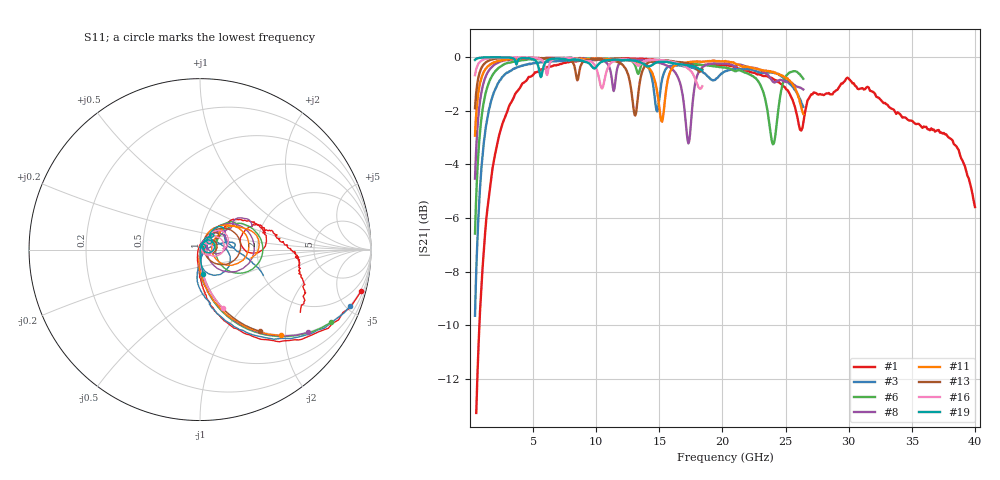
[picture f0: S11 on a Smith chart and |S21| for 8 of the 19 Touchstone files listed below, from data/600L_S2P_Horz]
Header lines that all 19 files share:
!  One Norden Lane
!  Huntington Station,  NY.  11746-2102
!  Tel:  (631) 622-4700  Fax:  (631) 622-4748
!  Application: Coupling, Bypass, Tuning, DC Block
!  Filters, Matching
# GHZ S DB R 50
! Freq  |S11|  S11 Ph  |S21|  S21 Ph  |S12|  S12 Ph  |S22|  S22 Ph
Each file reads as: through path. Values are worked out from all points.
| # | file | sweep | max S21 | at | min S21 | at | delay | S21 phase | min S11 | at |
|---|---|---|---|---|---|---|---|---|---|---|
| 1 | 600L0R7.S2P | 499 MHz to 40 GHz | -0.05 dB | 11.98 GHz | -13.3 dB | 499 MHz | 11 ps | -52 deg at 20.3 GHz | -40.1 dB | 12.48 GHz |
| 2 | 600L1R0.S2P | 400 MHz to 40 GHz | 0.00 dB | 10.3 GHz | -12.7 dB | 400 MHz | 10 ps | -57 deg at 20.2 GHz | -43.6 dB | 11.19 GHz |
| 3 | 600L1R5.S2P | 400 MHz to 26.4 GHz | -0.07 dB | 10.15 GHz | -9.6 dB | 400 MHz | 11.2 ps | -36 deg at 13.4 GHz | -40.4 dB | 10.28 GHz |
| 4 | 600L1R8.S2P | 400 MHz to 26.4 GHz | -0.12 dB | 8.07 GHz | -8.2 dB | 400 MHz | 10.9 ps | -38 deg at 13.4 GHz | -31.0 dB | 8.265 GHz |
| 5 | 600L2R0.S2P | 400 MHz to 26.4 GHz | -0.02 dB | 5.795 GHz | -6.8 dB | 400 MHz | 9.98 ps | -36 deg at 13.4 GHz | -35.5 dB | 7.16 GHz |
| 6 | 600L2R2.S2P | 400 MHz to 26.4 GHz | -0.02 dB | 8.005 GHz | -6.6 dB | 400 MHz | 10.1 ps | -33 deg at 13.4 GHz | -44.6 dB | 8.33 GHz |
| 7 | 600L2R7.S2P | 400 MHz to 26.4 GHz | -0.01 dB | 7.94 GHz | -5.0 dB | 400 MHz | 8.73 ps | -31 deg at 13.4 GHz | -44.9 dB | 7.745 GHz |
| 8 | 600L3R0.S2P | 400 MHz to 26.4 GHz | -0.03 dB | 7.355 GHz | -4.5 dB | 400 MHz | 9.2 ps | -34 deg at 13.4 GHz | -49.0 dB | 7.16 GHz |
| 9 | 600L3R3.S2P | 400 MHz to 26.4 GHz | -0.03 dB | 4.625 GHz | -4.0 dB | 400 MHz | 8.42 ps | -33 deg at 13.4 GHz | -40.0 dB | 6.835 GHz |
| 10 | 600L3R9.S2P | 400 MHz to 26.4 GHz | -0.03 dB | 6.185 GHz | -3.2 dB | 400 MHz | 8.17 ps | -35 deg at 13.4 GHz | -45.1 dB | 6.64 GHz |
| 11 | 600L4R3.S2P | 400 MHz to 26.4 GHz | -0.04 dB | 5.015 GHz | -2.9 dB | 400 MHz | 8.74 ps | -36 deg at 13.4 GHz | -40.5 dB | 5.86 GHz |
| 12 | 600L4R7.S2P | 400 MHz to 26.4 GHz | -0.09 dB | 3.91 GHz | -2.7 dB | 400 MHz | 9.08 ps | -39 deg at 13.4 GHz | -35.0 dB | 6.12 GHz |
| 13 | 600L5R6.S2P | 400 MHz to 18.4 GHz | -0.03 dB | 4.675 GHz | -2.2 dB | 13.09 GHz | 7.99 ps | -20 deg at 9.4 GHz | -53.2 dB | 5.62 GHz |
| 14 | 600L6R8.S2P | 400 MHz to 18.4 GHz | -0.05 dB | 3.73 GHz | -1.4 dB | 400 MHz | 8.92 ps | -26 deg at 9.4 GHz | -56.1 dB | 4.945 GHz |
| 15 | 600L8R2.S2P | 400 MHz to 18.4 GHz | -0.04 dB | 2.38 GHz | -1.5 dB | 11.43 GHz | 7.96 ps | -23 deg at 9.4 GHz | -48.2 dB | 4.45 GHz |
| 16 | 600L100.S2P | 400 MHz to 18.4 GHz | -0.01 dB | 2.74 GHz | -1.2 dB | 18.27 GHz | 7.88 ps | -24 deg at 9.4 GHz | -50.0 dB | 4.495 GHz |
| 17 | 600L120.S2P | 400 MHz to 18.4 GHz | -0.02 dB | 3.28 GHz | -1.0 dB | 8.86 GHz | 7.75 ps | -21 deg at 9.4 GHz | -57.0 dB | 3.505 GHz |
| 18 | 600L150.S2P | 400 MHz to 18.4 GHz | -0.05 dB | 1.75 GHz | -0.9 dB | 8.05 GHz | 8.42 ps | -25 deg at 9.4 GHz | -53.0 dB | 2.92 GHz |
| 19 | 600L270.S2P | 400 MHz to 18.4 GHz | -0.01 dB | 1.165 GHz | -0.8 dB | 5.62 GHz | 7.56 ps | -24 deg at 9.4 GHz | -53.1 dB | 2.245 GHz |
